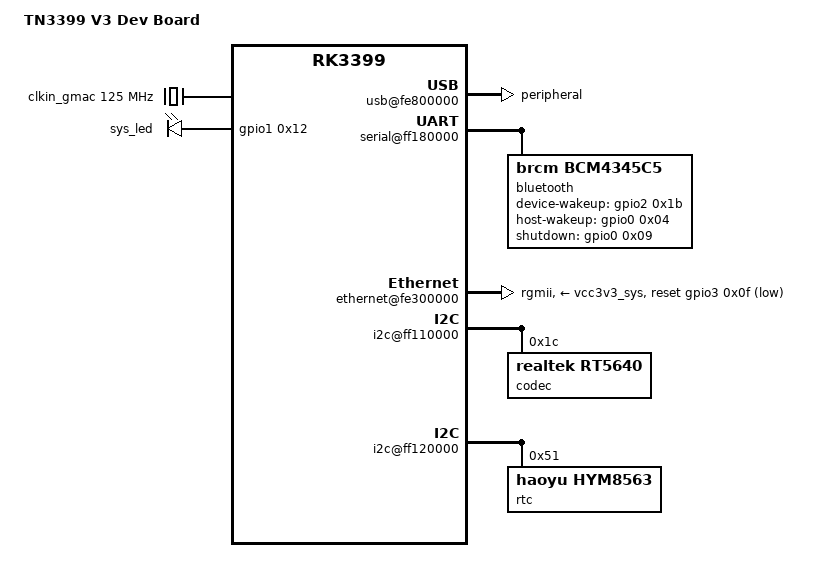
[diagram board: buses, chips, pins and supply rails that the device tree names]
/dts-v1/;
/plugin/;

/ {
	compatible = "radxa,rockpi4b", "radxa,rockpi4", "rockchip,rk3399";
	
	fragment@0 {
		target-path = "/";
		__overlay__ {
			model = "TN3399 V3 Dev Board";
			
			chosen {
				stdout-path = "serial2:1500000n8";
			};

			clkin_gmac: external-gmac-clock {
				compatible = "fixed-clock";
				clock-frequency = <125000000>;
				clock-output-names = "clkin_gmac";
				#clock-cells = <0>;
			};

			leds {
				compatible = "gpio-leds";
				pinctrl-names = "default";
				pinctrl-0 = <&user_led1_pin>;

				user_led1: led-1 {
					label = "sys_led";
					function = "status";
					color = <2>;
					gpios = <&gpio1 0x12 0>;
					linux,default-trigger = "heartbeat";
				};
			};
			
			rt5640_card: rt5640-sound {
				status = "okay";
				compatible = "simple-audio-card";
				simple-audio-card,format = "i2s";
				simple-audio-card,name = "rockchip,rt5640-codec";
				simple-audio-card,mclk-fs = <0x100>;
				simple-audio-card,widgets = "Microphone", "Mic Jack", "Headphone", "Headphone Jack";
				simple-audio-card,routing = "Mic Jack", "MICBIAS1", "IN1P", "Mic Jack", "Headphone Jack", "HPOL", "Headphone Jack", "HPOR";

				simple-audio-card,cpu {
					sound-dai = <&i2s1>;
				};

				simple-audio-card,codec {
					sound-dai = <&es8316>;
				};
			};
		};
	};
	
	/*
	 * This fragment is needed only for the internal pull-up activation,
	 * external pull-up resistor is highly recommended if using long wires
	 */
	fragment@1 {
		target-path = "/pcie@f8000000";
		__overlay__ {
			max-link-speed = <0x01>;
			ep-gpios = <&gpio2 0x02 0x00>;
		};
	};
	
	fragment@2 {
		target-path = "/mmc@fe310000/wifi@1";
		__overlay__ {
			compatible = "brcm,bcm43455-fmac";
		};
	};
	
	fragment@3 {
		target-path = "/usb@fe800000/usb@fe800000";
		__overlay__ {
			dr_mode = "peripheral";
		};
	};
	
	fragment@4 {
		target-path = "/serial@ff180000";
		__overlay__ {
			bluetooth {
				compatible = "brcm,bcm4345c5";
				max-speed = <0x16e360>;
				device-wakeup-gpios = <&gpio2 0x1b 0x00>;
				clocks = <0x44 0x01>;
				clock-names = "ext_clock";
				host-wakeup-gpios = <&gpio0 0x04 0x00>;
				shutdown-gpios = <&gpio0 0x09 0x00>;
			};
		};
	};
	
	fragment@5 {
		target-path = "/pinctrl";
		__overlay__ {
			gmac {
				rgmii_sleep_pins: rgmii-sleep-pins {
					rockchip,pins =
						<1 0x0a 0x00 &pcfg_output_low>;
				};
			};

			leds {
				user_led1_pin: user-led1-pin {
					rockchip,pins =
						<4 0x12 0x00 &pcfg_pull_none>;
				};
			};

			pcie {
				pcie_drv: pcie-drv {
					rockchip,pins =
						<2 0x05 0x00 &pcfg_pull_none>;
					};
			};

			usb2 {
				host_vbus_drv: host-vbus-drv {
					rockchip,pins =
						<4 0x19 0x00 &pcfg_pull_none>;
				};
			};
		};
	};
	
	fragment@6 {
		target-path = "/vcc3v3-pcie-regulator";
		__overlay__ {
			gpio = <&gpio2 5 0x00>;
		};
	};
	
	fragment@7 {
		target-path = "/vcc5v0-host-regulator";
		__overlay__ {
			gpio = <&gpio4 25 0x00>;
		};
	};
	
	fragment@8 {
		target-path = "/ethernet@fe300000";
		__overlay__ {
			assigned-clocks = <&cru 0xa6>;
			assigned-clock-parents = <&clkin_gmac>;
			clock_in_out = "input";
			phy-supply = <&vcc3v3_sys>;
			phy-mode = "rgmii";
			pinctrl-names = "default";
			pinctrl-0 = <&rgmii_pins>;
			snps,reset-gpio = <&gpio3 0x0f 0x01>;
			snps,reset-active-low;
			snps,reset-delays-us = <0 10000 50000>;
			tx_delay = <0x28>;
			rx_delay = <0x11>;
			status = "okay";
		};
	};
	
	fragment@9 {
		target-path = "/i2c@ff110000";
		__overlay__ {
			codec@11 {
				compatible = "realtek,rt5640";
				reg = <0x1c>;
				clocks = <&cru 0x59>;
				clock-names = "mclk";
				status = "okay";
				#sound-dai-cells = <0x00>;
			};
		};
	};

	fragment@10 {
		target-path = "/i2c@ff120000";
		__overlay__ {
			status = "okay";
			rtc@51 {
				compatible = "haoyu,hym8563";
				reg = < 0x51 >;
			};
		};
	};
};
